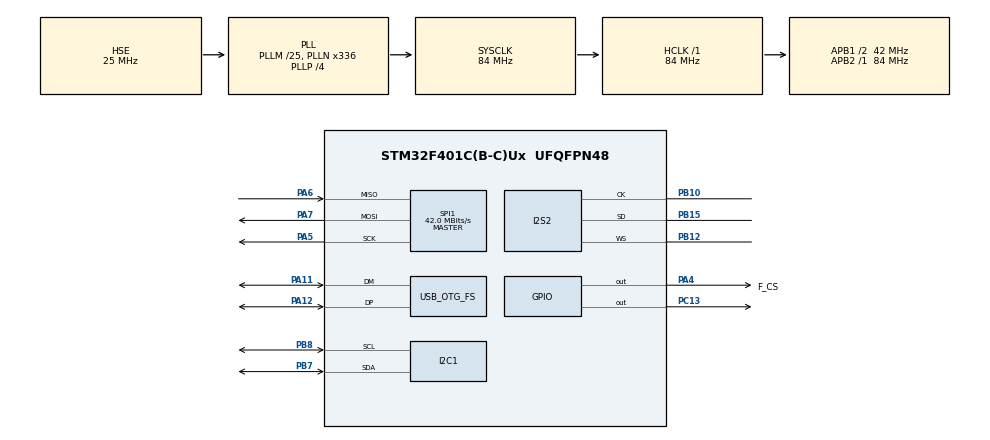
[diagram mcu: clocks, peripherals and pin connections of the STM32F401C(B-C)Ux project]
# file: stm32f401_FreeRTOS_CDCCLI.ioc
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ADC1.Channel-0\#ChannelRegularConversion=ADC_CHANNEL_TEMPSENSOR
ADC1.NbrOfConversionFlag=1
ADC1.master=1
FREERTOS.Tasks01=defaultTask,24,128,StartDefaultTask,Default,NULL,Dynamic,NULL,NULL;myTask02,8,128,StartTask02,Default,NULL,Dynamic,NULL,NULL
FREERTOS.configGENERATE_RUN_TIME_STATS=1
FREERTOS.configUSE_STATS_FORMATTING_FUNCTIONS=1
I2S2.ErrorAudioFreq=0.0 %
I2S2.FullDuplexMode=I2S_FULLDUPLEXMODE_DISABLE
I2S2.Instance=SPI$Index
I2S2.RealAudioFreq=8.0 KHz
I2S2.VirtualMode=I2S_MODE_MASTER
Mcu.Family=STM32F4
Mcu.Name=STM32F401C(B-C)Ux
Mcu.Package=UFQFPN48
NVIC.OTG_FS_IRQn=true\:5\:0\:true\:false\:true\:true\:false\:true
NVIC.PriorityGroup=NVIC_PRIORITYGROUP_4
NVIC.SPI2_IRQn=true\:5\:0\:true\:false\:true\:true\:true\:true
NVIC.TIM1_UP_TIM10_IRQn=true\:0\:0\:false\:false\:true\:false\:false\:true
NVIC.TimeBase=TIM1_UP_TIM10_IRQn
NVIC.TimeBaseIP=TIM1
PA11.Mode=Device_Only
PA11.Signal=USB_OTG_FS_DM
PA12.Mode=Device_Only
PA12.Signal=USB_OTG_FS_DP
PA13.Mode=Serial_Wire
PA13.Signal=SYS_JTMS-SWDIO
PA14.Mode=Serial_Wire
PA14.Signal=SYS_JTCK-SWCLK
PA4.GPIO_Label=F_CS
PA4.GPIO_Speed=GPIO_SPEED_FREQ_VERY_HIGH
PA4.PinState=GPIO_PIN_SET
PA4.Signal=GPIO_Output
PA5.Mode=Full_Duplex_Master
PA5.Signal=SPI1_SCK
PA6.Mode=Full_Duplex_Master
PA6.Signal=SPI1_MISO
PA7.Mode=Full_Duplex_Master
PA7.Signal=SPI1_MOSI
PB10.Mode=Half_Duplex_Master
PB10.Signal=I2S2_CK
PB12.Mode=Half_Duplex_Master
PB12.Signal=I2S2_WS
PB15.Mode=Half_Duplex_Master
PB15.Signal=I2S2_SD
PB7.Mode=I2C
PB7.Signal=I2C1_SDA
PB8.Mode=I2C
PB8.Signal=I2C1_SCL
PC13-ANTI_TAMP.Signal=GPIO_Output
PH0\ -\ OSC_IN.Mode=HSE-External-Oscillator
PH0\ -\ OSC_IN.Signal=RCC_OSC_IN
PH1\ -\ OSC_OUT.Mode=HSE-External-Oscillator
PH1\ -\ OSC_OUT.Signal=RCC_OSC_OUT
ProjectManager.HeapSize=0x800
ProjectManager.StackSize=0x400
ProjectManager.TargetToolchain=MDK-ARM V5.27
RCC.48MHZClocksFreq_Value=48000000
RCC.AHBFreq_Value=84000000
RCC.APB1CLKDivider=RCC_HCLK_DIV2
RCC.APB1Freq_Value=42000000
RCC.APB1TimFreq_Value=84000000
RCC.APB2Freq_Value=84000000
RCC.APB2TimFreq_Value=84000000
RCC.CortexFreq_Value=84000000
RCC.HCLKFreq_Value=84000000
RCC.HSE_VALUE=25000000
RCC.HSI_VALUE=16000000
RCC.LSE_VALUE=32768
RCC.PLLM=25
RCC.PLLN=336
RCC.PLLP=RCC_PLLP_DIV4
RCC.PLLQ=7
RCC.RCC_MCO1Source=RCC_MCO1SOURCE_HSE
RCC.RCC_MCODiv1=RCC_MCODIV_4
RCC.RCC_RTC_Clock_Source=RCC_RTCCLKSOURCE_LSE
RCC.RCC_RTC_Clock_SourceVirtual=RCC_RTCCLKSOURCE_LSE
RCC.SYSCLKFreq_VALUE=84000000
RCC.SYSCLKSource=RCC_SYSCLKSOURCE_PLLCLK
RCC.VCOOutputFreq_Value=336000000
SPI1.BaudRatePrescaler=SPI_BAUDRATEPRESCALER_2
SPI1.CLKPhase=SPI_PHASE_2EDGE
SPI1.CLKPolarity=SPI_POLARITY_HIGH
SPI1.CalculateBaudRate=42.0 MBits/s
SPI1.Direction=SPI_DIRECTION_2LINES
SPI1.Mode=SPI_MODE_MASTER
SPI1.VirtualType=VM_MASTER
USB_DEVICE.CLASS_NAME_FS=CDC
USB_DEVICE.VirtualMode=Cdc
USB_DEVICE.VirtualModeFS=Cdc_FS
USB_OTG_FS.VirtualMode=Device_Only
VP_ADC1_TempSens_Input.Mode=IN-TempSens
VP_ADC1_Vref_Input.Mode=IN-Vrefint
VP_FREERTOS_VS_CMSIS_V2.Mode=CMSIS_V2
VP_SYS_VS_tim1.Mode=TIM1
VP_USB_DEVICE_VS_USB_DEVICE_CDC_FS.Mode=CDC_FS
board=custom

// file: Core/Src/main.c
/* USER CODE BEGIN Header */
/**
  ******************************************************************************
  * @file           : main.c
  * @brief          : Main program body
  ******************************************************************************
  * @attention
  *
  * <h2><center>&copy; Copyright (c) 2021 STMicroelectronics.
  * All rights reserved.</center></h2>
  *
  * This software component is licensed by ST under Ultimate Liberty license
  * SLA0044, the "License"; You may not use this file except in compliance with
  * the License. You may obtain a copy of the License at:
  *                             www.st.com/SLA0044
  *
  ******************************************************************************
  */
/* USER CODE END Header */
#include "main.h"
#include "cmsis_os.h"
#include "adc.h"
#include "i2c.h"
#include "i2s.h"
#include "spi.h"
#include "usb_device.h"
#include "gpio.h"

void SystemClock_Config(void);
void MX_FREERTOS_Init(void);

/* USER CODE BEGIN 0 */
extern uint8_t CDC_Transmit_FS(uint8_t* Buf, uint16_t Len);
/* USER CODE END 0 */

int main(void)
{

  /* MCU Configuration--------------------------------------------------------*/

  /* Reset of all peripherals, Initializes the Flash interface and the Systick. */
  HAL_Init();

  /* Configure the system clock */
  SystemClock_Config();

  /* Initialize all configured peripherals */
  MX_GPIO_Init();
  MX_ADC1_Init();
  MX_SPI1_Init();
  MX_I2C1_Init();
  MX_I2S2_Init();

  /* Init scheduler */
  osKernelInitialize();  /* Call init function for freertos objects (in freertos.c) */
  MX_FREERTOS_Init();
  /* Start scheduler */
  osKernelStart();

  /* We should never get here as control is now taken by the scheduler */
  /* Infinite loop */
  while (1)
  {

  }
}

void SystemClock_Config(void)
{
  RCC_OscInitTypeDef RCC_OscInitStruct = {0};
  RCC_ClkInitTypeDef RCC_ClkInitStruct = {0};
  RCC_PeriphCLKInitTypeDef PeriphClkInitStruct = {0};

  /** Configure the main internal regulator output voltage
  */
  __HAL_RCC_PWR_CLK_ENABLE();
  __HAL_PWR_VOLTAGESCALING_CONFIG(PWR_REGULATOR_VOLTAGE_SCALE2);
  /** Initializes the RCC Oscillators according to the specified parameters
  * in the RCC_OscInitTypeDef structure.
  */
  RCC_OscInitStruct.OscillatorType = RCC_OSCILLATORTYPE_HSE;
  RCC_OscInitStruct.HSEState = RCC_HSE_ON;
  RCC_OscInitStruct.PLL.PLLState = RCC_PLL_ON;
  RCC_OscInitStruct.PLL.PLLSource = RCC_PLLSOURCE_HSE;
  RCC_OscInitStruct.PLL.PLLM = 25;
  RCC_OscInitStruct.PLL.PLLN = 336;
  RCC_OscInitStruct.PLL.PLLP = RCC_PLLP_DIV4;
  RCC_OscInitStruct.PLL.PLLQ = 7;
  if (HAL_RCC_OscConfig(&RCC_OscInitStruct) != HAL_OK)
  {
    Error_Handler();
  }
  /** Initializes the CPU, AHB and APB buses clocks
  */
  RCC_ClkInitStruct.ClockType = RCC_CLOCKTYPE_HCLK|RCC_CLOCKTYPE_SYSCLK
                              |RCC_CLOCKTYPE_PCLK1|RCC_CLOCKTYPE_PCLK2;
  RCC_ClkInitStruct.SYSCLKSource = RCC_SYSCLKSOURCE_PLLCLK;
  RCC_ClkInitStruct.AHBCLKDivider = RCC_SYSCLK_DIV1;
  RCC_ClkInitStruct.APB1CLKDivider = RCC_HCLK_DIV2;
  RCC_ClkInitStruct.APB2CLKDivider = RCC_HCLK_DIV1;

  if (HAL_RCC_ClockConfig(&RCC_ClkInitStruct, FLASH_LATENCY_2) != HAL_OK)
  {
    Error_Handler();
  }
  PeriphClkInitStruct.PeriphClockSelection = RCC_PERIPHCLK_I2S;
  PeriphClkInitStruct.PLLI2S.PLLI2SN = 192;
  PeriphClkInitStruct.PLLI2S.PLLI2SR = 2;
  if (HAL_RCCEx_PeriphCLKConfig(&PeriphClkInitStruct) != HAL_OK)
  {
    Error_Handler();
  }
}

/* USER CODE BEGIN 4 */
int fputc( int ch, FILE *f )
{
    //while(!(CDC_Transmit_FS((uint8_t*)&ch, 1) == USBD_OK));
    //while(!(CDC_Transmit_FS((uint8_t*)&ch, 1) == USBD_BUSY));

    while(CDC_Transmit_FS((uint8_t*)(&ch),1)!=USBD_OK)
    {
    }
    return ch;
}
/* USER CODE END 4 */

 /**
  * @brief  Period elapsed callback in non blocking mode
  * @note   This function is called  when TIM1 interrupt took place, inside
  * HAL_TIM_IRQHandler(). It makes a direct call to HAL_IncTick() to increment
  * a global variable "uwTick" used as application time base.
  * @param  htim : TIM handle
  * @retval None
  */
void HAL_TIM_PeriodElapsedCallback(TIM_HandleTypeDef *htim)
{
  if (htim->Instance == TIM1) {
    HAL_IncTick();
  }
}

void Error_Handler(void)
{
  __disable_irq();
  while (1)
  {
  }
}

/************************ (C) COPYRIGHT STMicroelectronics *****END OF FILE****/

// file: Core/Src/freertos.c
/* USER CODE BEGIN Header */
/**
  ******************************************************************************
  * File Name          : freertos.c
  * Description        : Code for freertos applications
  ******************************************************************************
  * @attention
  *
  * <h2><center>&copy; Copyright (c) 2021 STMicroelectronics.
  * All rights reserved.</center></h2>
  *
  * This software component is licensed by ST under Ultimate Liberty license
  * SLA0044, the "License"; You may not use this file except in compliance with
  * the License. You may obtain a copy of the License at:
  *                             www.st.com/SLA0044
  *
  ******************************************************************************
  */
/* USER CODE END Header */

#include "FreeRTOS.h"
#include "task.h"
#include "semphr.h"
#include "main.h"
#include "cmsis_os.h"

/* USER CODE BEGIN Variables */
extern SemaphoreHandle_t xTxMutex;

/* USER CODE END Variables */
/* Definitions for defaultTask */
osThreadId_t defaultTaskHandle;
const osThreadAttr_t defaultTask_attributes = {
  .name = "defaultTask",
  .priority = (osPriority_t) osPriorityNormal,
  .stack_size = 128 * 4
};
/* Definitions for myTask02 */
osThreadId_t CLIHandle;
const osThreadAttr_t CLI_attributes = {
  .name = "CLI",
  .priority = (osPriority_t) osPriorityNormal,
  .stack_size = 128 * 16
};

/* USER CODE BEGIN FunctionPrototypes */
extern void vRegisterSampleCLICommands( void );
extern void vUARTCommandConsoleStart( uint16_t usStackSize, UBaseType_t uxPriority );
extern void prvUARTCommandConsoleTask( void *pvParameters );
/* USER CODE END FunctionPrototypes */

void StartDefaultTask(void *argument);
void StartTask02(void *argument);

extern void MX_USB_DEVICE_Init(void);
void MX_FREERTOS_Init(void); /* (MISRA C 2004 rule 8.1) */

/* Hook prototypes */
void configureTimerForRunTimeStats(void);
unsigned long getRunTimeCounterValue(void);

/* USER CODE BEGIN 1 */
/* Functions needed when configGENERATE_RUN_TIME_STATS is on */
__weak void configureTimerForRunTimeStats(void)
{

}

__weak unsigned long getRunTimeCounterValue(void)
{
return 0;
}
/* USER CODE END 1 */

void MX_FREERTOS_Init(void) {

  /* Create the thread(s) */
  /* creation of defaultTask */
  defaultTaskHandle = osThreadNew(StartDefaultTask, NULL, &defaultTask_attributes);

  /* creation of myTask02 */
  //myTask02Handle = osThreadNew(StartTask02, NULL, &myTask02_attributes);

  /* USER CODE BEGIN RTOS_THREADS */
  /* add threads, ... */

    vUARTCommandConsoleStart( 1000, 1 );
    vRegisterSampleCLICommands();
  /* USER CODE END RTOS_THREADS */

}

void StartDefaultTask(void *argument)
{
  /* init code for USB_DEVICE */
  MX_USB_DEVICE_Init();
  /* USER CODE BEGIN StartDefaultTask */
  //MX_USB_DEVICE_Init();
  osDelay(1000);
  /* Infinite loop */
  for(;;)
  {
    osDelay(10);
  }
  /* USER CODE END StartDefaultTask */
}

void StartTask02(void *argument)
{
  /* USER CODE BEGIN StartTask02 */
  uint32_t i=0;
  /* Infinite loop */
  for(;;)
  {
    osDelay(1000);
    //CDC_Transmit_FS( (uint8_t *)"hello\n", 7U);
    printf("start !!%d",i++);
  }
  /* USER CODE END StartTask02 */
}

/* USER CODE BEGIN Application */
void vUARTCommandConsoleStart( uint16_t usStackSize, UBaseType_t uxPriority )
{
	/* Create the semaphore used to access the UART Tx. */
	xTxMutex = xSemaphoreCreateMutex();
	configASSERT( xTxMutex );

	/* Create that task that handles the console itself. */
////	xTaskCreate( 	prvUARTCommandConsoleTask,	/* The task that implements the command console. */
////					"CLI",						/* Text name assigned to the task.  This is just to assist debugging.  The kernel does not use this name itself. */
////					usStackSize,				/* The size of the stack allocated to the task. */
////					NULL,						/* The parameter is not used, so NULL is passed. */
////					uxPriority,					/* The priority allocated to the task. */
////					NULL );						/* A handle is not required, so just pass NULL. */

    CLIHandle = osThreadNew(prvUARTCommandConsoleTask, NULL, &CLI_attributes);
    osDelay(1000);
}
/* USER CODE END Application */

/************************ (C) COPYRIGHT STMicroelectronics *****END OF FILE****/
